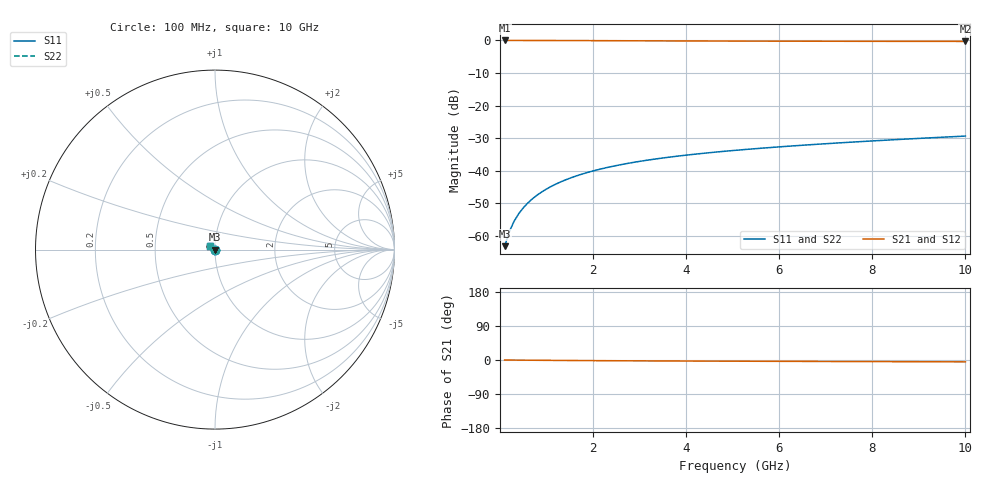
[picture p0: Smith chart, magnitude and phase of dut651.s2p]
! Touchstone file exported from HFSS 2024.1.0
!  File:  C:/UserFiles/LocalFiles/RDL_TSV_Batchsim/temp_TSV1_651_1779792114.aedt
!  Generated:  06:52:24 PM May 26, 2026
!  Design:  TSV1
!  Project:  temp_TSV1_651_1779792114
!  Setup:  Setup1
!  Solution:  Sweep
! Variables:
!  dtsv = 5.36um
!  hbump = 3um
!  htsv = 72.65um
!  lrdl = 252.1521522um
!  p = 40
!  p1 = 44.64um
!  t = 500um
!  trdl = 3um
!  wrdl = 24.89489489um
# GHz S MA R 50.000000
! Terminal data exported
! Port[1] = TSV22_T1
! Port[2] = TSV22_T2
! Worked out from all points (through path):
!   100 points, 100 MHz to 10 GHz, reference 50 ohm
!   highest |S21| = 0.00 dB at 100 MHz (marker M1); lowest = -0.3 dB at 10 GHz (marker M2)
!   lowest |S11| = -63.2 dB at 100 MHz (marker M3), VSWR 1.00, Z = 50 - j0.0533 ohm
!   |S11| at or under -10 dB: start of sweep to end of sweep
!   |S22| runs from -63.2 to -29.4 dB; largest |S21 - S12| = 3.9e-15
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0.1  0.0006887 -50.6  0.9995 -0.1  0.9995 -0.1  0.0006887 -50.6
! Gamma 0 0 0 0
! Port Impedance 50 0 50 0
0.2  0.001145 -70.3  0.9994 -0.2  0.9994 -0.2  0.001145 -70.3
0.3  0.001644 -79.8  0.9993 -0.3  0.9993 -0.3  0.001644 -79.8
0.4  0.002155 -85.9  0.9992 -0.4  0.9992 -0.4  0.002155 -85.9
0.5  0.002668 -90.4  0.999 -0.5  0.999 -0.5  0.002668 -90.4
0.6  0.003182 -94.2  0.9988 -0.5  0.9988 -0.5  0.003182 -94.2
0.7  0.003694 -97.4  0.9985 -0.6  0.9985 -0.6  0.003694 -97.4
0.8  0.004202 -100.4  0.9983 -0.7  0.9983 -0.7  0.004202 -100.4
0.9  0.004707 -103.2  0.998 -0.8  0.998 -0.8  0.004707 -103.2
1.1  0.005701 -108.2  0.9972 -1.0  0.9972 -1.0  0.005701 -108.2
1.4  0.00715 -115.2  0.996 -1.2  0.996 -1.2  0.00715 -115.2
1.6  0.008084 -119.5  0.995 -1.4  0.995 -1.4  0.008084 -119.5
1.8  0.00899 -123.6  0.994 -1.5  0.994 -1.5  0.00899 -123.6
2.1  0.0103 -129.5  0.9924 -1.7  0.9924 -1.7  0.0103 -129.5
2.5  0.01194 -136.8  0.9902 -2.0  0.9902 -2.0  0.01194 -136.8
2.9  0.01348 -143.6  0.988 -2.2  0.988 -2.2  0.01348 -143.6
3.4  0.01527 -151.4  0.9853 -2.5  0.9853 -2.5  0.01527 -151.4
4.2  0.01789 -162.6  0.9814 -2.8  0.9814 -2.8  0.01789 -162.6
5.1  0.02059 -173.4  0.9776 -3.2  0.9776 -3.2  0.02059 -173.4
6.7  0.02505 171.1  0.9726 -3.8  0.9726 -3.8  0.02505 171.1
8.4  0.02961 158.4  0.9689 -4.4  0.9689 -4.4  0.02961 158.4
10  0.03389 149.0  0.9664 -4.9  0.9664 -4.9  0.03389 149.0
